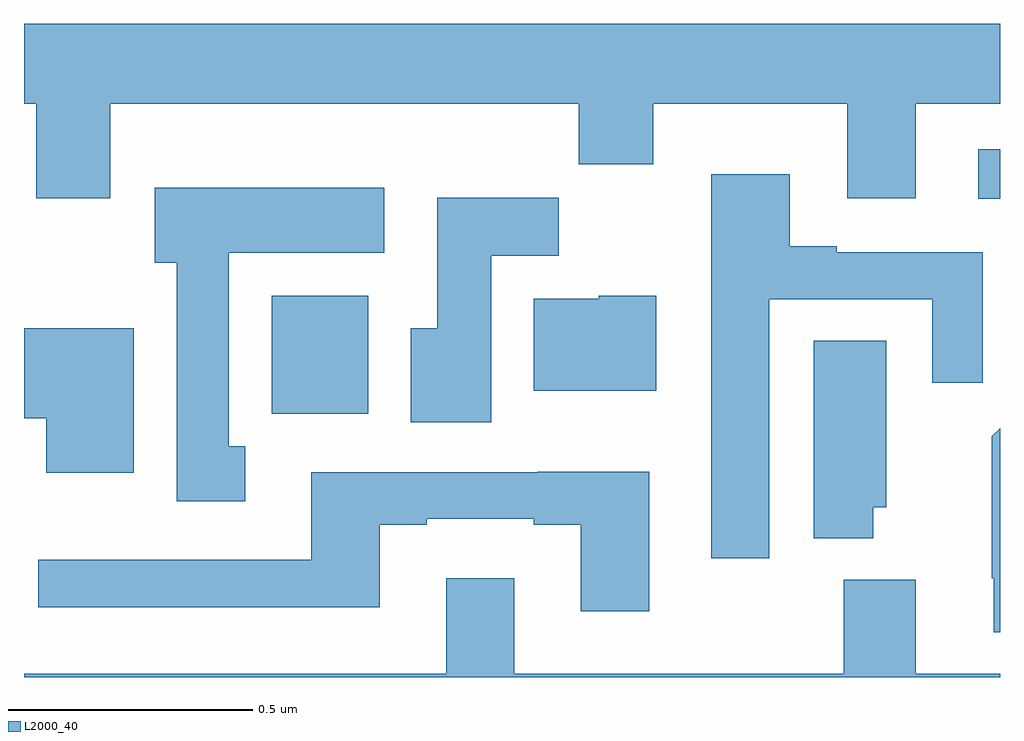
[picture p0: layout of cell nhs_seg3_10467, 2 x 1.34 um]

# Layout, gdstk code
import gdstk
lib = gdstk.Library(unit=1e-6, precision=1e-09)
def R(c, l, rs):  # rectangles x0, y0, x1, y1
    for r in rs: c.add(gdstk.rectangle(r[:2], r[2:], *l))
def P(c, l, *ps):  # polygons
    for p in ps: c.add(gdstk.Polygon(p, *l))
L2000_40 = (2000, 40)

nhs_seg3_10467 = lib.new_cell('nhs_seg3_10467')
R(nhs_seg3_10467, L2000_40, [(241.508,706.94,241.705,707.182), (242.955,707.381,243,707.482)])
P(nhs_seg3_10467, L2000_40, [(241.177,707.576),(242.137,707.576),(242.137,707.452),(242.289,707.452),(242.289,707.576),(242.687,707.576),(242.687,707.382),(242.827,707.382),(242.827,707.576),(243,707.576),(243,707.74),(241,707.74),(241,707.576),(241.025,707.576),(241.025,707.382),(241.177,707.382)],
  [(242.527,707.175),(242.861,707.175),(242.861,707.004),(242.965,707.004),(242.965,707.271),(242.665,707.271),(242.665,707.284),(242.569,707.284),(242.569,707.431),(242.408,707.431),(242.408,706.644),(242.527,706.644)],
  [(241.453,706.874),(241.42,706.874),(241.42,707.27),(241.738,707.27),(241.738,707.404),(241.268,707.404),(241.268,707.25),(241.313,707.25),(241.313,706.761),(241.453,706.761)],
  [(241.957,707.264),(242.096,707.264),(242.096,707.383),(241.847,707.383),(241.847,707.116),(241.793,707.116),(241.793,706.923),(241.957,706.923)],
  [(242.296,707.182),(242.178,707.182),(242.178,707.176),(242.045,707.176),(242.045,706.988),(242.296,706.988)],
  [(241.225,707.116),(241,707.116),(241,706.931),(241.046,706.931),(241.046,706.82),(241.225,706.82)],
  [(242.74,706.749),(242.767,706.749),(242.767,707.09),(242.618,707.09),(242.618,706.685),(242.74,706.685)],
  [(243,706.911),(242.983,706.894),(242.983,706.603),(242.987,706.603),(242.987,706.493),(243,706.493)],
  [(242.281,706.822),(242.053,706.822),(242.053,706.821),(241.589,706.821),(241.589,706.641),(241.029,706.641),(241.029,706.544),(241.729,706.544),(241.729,706.713),(241.825,706.713),(241.825,706.725),(242.045,706.725),(242.045,706.713),(242.141,706.713),(242.141,706.536),(242.281,706.536)],
  [(243,706.408),(242.827,706.408),(242.827,706.6),(242.68,706.6),(242.68,706.408),(242.005,706.408),(242.005,706.603),(241.865,706.603),(241.865,706.408),(241,706.408),(241,706.4),(243,706.4)])

lib.write_gds('nhs_seg3_10467.gds')
